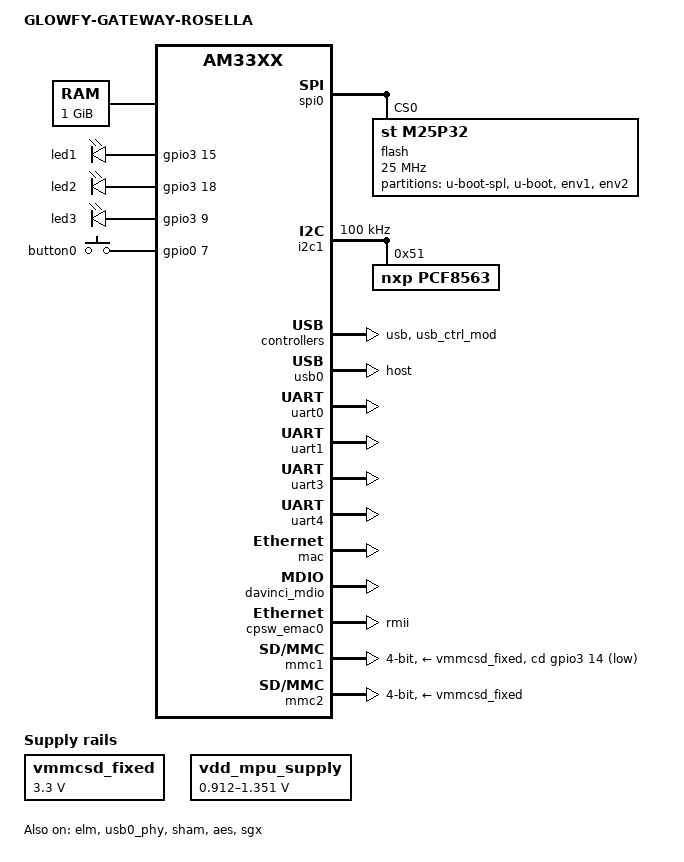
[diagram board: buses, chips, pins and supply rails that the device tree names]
/*
 * Copyright (C) 2023 Calixto Systems Pvt Ltd - https://www.calixtosystems.com/
 *
 * This program is free software; you can redistribute it and/or modify
 * it under the terms of the GNU General Public License version 2 as
 * published by the Free Software Foundation.
 */

/*
 * Glowfy Gateway Rosella
 * http:// http://www.calixtosystems.com/
 * Modified from am335x-stamp-nxt evb
 * Modified by Vipin Vijayan <vipin.v@calixto.in>
 */

/dts-v1/;

#include "am33xx.dtsi"
#include <dt-bindings/pwm/pwm.h>
#include <dt-bindings/interrupt-controller/irq.h>

/ {
	model = "GLOWFY-GATEWAY-ROSELLA";
	compatible = "ti,am335x-calixto-stamp-nxt", "ti,am33xx";

	cpus {
		cpu@0 {
			cpu0-supply = <&vdd_mpu_supply>;
		};
	};

	memory@80000000 {
		device_type = "memory";
		reg = <0x80000000 0x40000000>; /* 1GB */
	};

	chosen {
		stdout-path = &uart0;
	};

	vmmcsd_fixed: fixedregulator-sd {
		compatible = "regulator-fixed";
		regulator-name = "vmmcsd_fixed";
		regulator-min-microvolt = <3300000>;
		regulator-max-microvolt = <3300000>;
		enable-active-high;
	};

	vdd_mpu_supply: fixedregulator-mpu {
		compatible = "regulator-fixed";
		regulator-name = "vdd_mpu_supply";
		regulator-min-microvolt = <912500>;
		regulator-max-microvolt = <1351500>;
		regulator-boot-on;
	};

	leds {
		pinctrl-names = "default";
		pinctrl-0 = <&user_leds_s0>;

		compatible = "gpio-leds";

		led@1 {
			label = "led1";
			gpios = <&gpio3 15 GPIO_ACTIVE_HIGH>;
			linux,default-trigger = "heartbeat";
			default-state = "on";
		};
		led@2 {
			label = "led2";
			gpios = <&gpio3 18 GPIO_ACTIVE_HIGH>;
			linux,default-trigger = "heartbeat";
			default-state = "on";
		};
		led@3 {
			label = "led3";
			gpios = <&gpio3 9 GPIO_ACTIVE_HIGH>;
			linux,default-trigger = "heartbeat";
			default-state = "on";
		};
	};

	gpio_buttons: gpio_buttons@0 {
		compatible = "gpio-keys";
		pinctrl-names = "default";
		pinctrl-0 = <&gpio_keys_s0>;
		#address-cells = <1>;
		#size-cells = <0>;

		switch@1 {
			label = "button0";
			linux,code = <0x100>;
			gpios = <&gpio0 7 GPIO_ACTIVE_HIGH>;
		};
	};



};

&am33xx_pinmux {

	user_leds_s0: user_leds_s0 {
		pinctrl-single,pins = <
			AM33XX_IOPAD(0x92c, PIN_OUTPUT_PULLDOWN | MUX_MODE7) /* (K18) gmii1_txclk.gpio3[9] */
			AM33XX_IOPAD(0x994, PIN_OUTPUT_PULLDOWN | MUX_MODE7) /* (B13) mcasp0_fsx.gpio3[15] */
			AM33XX_IOPAD(0x9a0, PIN_OUTPUT_PULLDOWN | MUX_MODE7) /* (B12) mcasp0_aclkr.gpio3[18] */
		>;
	};

	gpio_keys_s0: gpio_keys_s0 {
		pinctrl-single,pins = <
			AM33XX_IOPAD(0x964, PIN_INPUT_PULLDOWN | MUX_MODE7) /* (C18) eCAP0_in_PWM0_out.gpio0[7] */
		>;
	};

	i2c1_pins: pinmux_i2c1_pins {
		pinctrl-single,pins = <
			AM33XX_IOPAD(0x96C, PIN_INPUT_PULLUP | MUX_MODE3)  /* (E17) uart0_rtsn.I2C1_SCL */
			AM33XX_IOPAD(0x968, PIN_INPUT_PULLUP | MUX_MODE3)  /* (E18) uart0_ctsn.I2C1_SDA */
		>;
	};


	spi0_pins: pinmux_spi0_pins {
		pinctrl-single,pins = <
			AM33XX_IOPAD(0x950, PIN_INPUT_PULLUP | MUX_MODE0 )  /* (A17) spi0_sclk.spi0_sclk */
			AM33XX_IOPAD(0x954, PIN_INPUT_PULLUP | MUX_MODE0 )  /* (B17) spi0_d0.spi0_d0 */
			AM33XX_IOPAD(0x958, PIN_OUTPUT_PULLUP | MUX_MODE0 ) /* (B16) spi0_d1.spi0_d1 */
			AM33XX_IOPAD(0x95c, PIN_OUTPUT_PULLUP | MUX_MODE0 ) /* (A16) spi0_cs0.spi0_cs0 */
		>;
	};

	uart0_pins: pinmux_uart0_pins {
		pinctrl-single,pins = <
			AM33XX_IOPAD(0x970, PIN_INPUT_PULLUP 	| MUX_MODE0)	/* uart0_rxd.uart0_rxd */
			AM33XX_IOPAD(0x974, PIN_OUTPUT_PULLDOWN | MUX_MODE0)	/* uart0_txd.uart0_txd */
		>;
	};

	uart1_pins: pinmux_uart1_pins {
		pinctrl-single,pins = <
			AM33XX_IOPAD(0x980, PIN_INPUT_PULLUP    | MUX_MODE0 )	/* (D16) uart1_rxd.uart1_rxd */
			AM33XX_IOPAD(0x984, PIN_OUTPUT_PULLDOWN | MUX_MODE0 )	/* (D15) uart1_txd.uart1_txd */
		>;
	};

	uart3_pins: pinmux_uart3_pins {
		pinctrl-single,pins = <
			AM33XX_IOPAD(0x960, PIN_INPUT_PULLUP 	| MUX_MODE1 )  /* (C15) spi0_cs1.uart3_rxd   RS485_1_RX*/
			AM33XX_IOPAD(0x938, PIN_OUTPUT_PULLDOWN | MUX_MODE1 )  /* (L16) gmii1_rxd2.uart3_txd RS485_1_TX*/
		>;
	};

	uart4_pins: pinmux_uart4_pins {
		pinctrl-single,pins = <
			AM33XX_IOPAD(0x91c, PIN_INPUT_PULLUP 	| MUX_MODE3 )  /* (J18) gmii1_txd3.uart4_rxd RS485_2_RX*/
			AM33XX_IOPAD(0x920, PIN_OUTPUT_PULLDOWN | MUX_MODE3 )  /* (K15) gmii1_txd2.uart4_txd RS485_2_TX*/
			AM33XX_IOPAD(0x930, PIN_OUTPUT_PULLUP 	| MUX_MODE7)   /* (L18) gmii1_rxclk.gpio3[10] */
		>;
	};

	cpsw_default: cpsw_default {
		pinctrl-single,pins = <
			/* Slave 1 */
			/* Slave 1 */
			AM33XX_IOPAD(0x90c, PIN_INPUT_PULLDOWN  | MUX_MODE1)  /* mii1_crs.rmii1_crs_dv */
			AM33XX_IOPAD(0x910, PIN_INPUT_PULLDOWN  | MUX_MODE1)  /* mii1_rxerr.mii1_rxerr */
			AM33XX_IOPAD(0x914, PIN_OUTPUT_PULLDOWN | MUX_MODE1)  /* mii1_txen.mii1_txen   */
			AM33XX_IOPAD(0x924, PIN_OUTPUT_PULLDOWN | MUX_MODE1)  /* mii1_txd1.mii1_txd1   */
			AM33XX_IOPAD(0x928, PIN_OUTPUT_PULLDOWN | MUX_MODE1)  /* mii1_txd0.mii1_txd0   */
			AM33XX_IOPAD(0x93c, PIN_INPUT_PULLDOWN  | MUX_MODE1)  /* mii1_rxd1.mii1_rxd2   */
			AM33XX_IOPAD(0x940, PIN_INPUT_PULLDOWN  | MUX_MODE1)  /* mii1_rxd0.mii1_rxd0   */
			AM33XX_IOPAD(0x944, PIN_INPUT_PULLDOWN  | MUX_MODE0)  /* rmii1_refclk.rmii1_refclk */
		>;
	};

	cpsw_sleep: cpsw_sleep {
		pinctrl-single,pins = <
			/* Slave 1 reset value */
			AM33XX_IOPAD(0x90c, PIN_INPUT_PULLDOWN | MUX_MODE7)
			AM33XX_IOPAD(0x910, PIN_INPUT_PULLDOWN | MUX_MODE7)
			AM33XX_IOPAD(0x914, PIN_INPUT_PULLDOWN | MUX_MODE7)
			AM33XX_IOPAD(0x924, PIN_INPUT_PULLDOWN | MUX_MODE7)
			AM33XX_IOPAD(0x928, PIN_INPUT_PULLDOWN | MUX_MODE7)
			AM33XX_IOPAD(0x93c, PIN_INPUT_PULLDOWN | MUX_MODE7)
			AM33XX_IOPAD(0x940, PIN_INPUT_PULLDOWN | MUX_MODE7)
			AM33XX_IOPAD(0x944, PIN_INPUT_PULLDOWN | MUX_MODE7)
		>;
	};

	davinci_mdio_default: davinci_mdio_default {
		pinctrl-single,pins = <
			/* MDIO */
			AM33XX_IOPAD(0x948, PIN_INPUT_PULLUP | SLEWCTRL_FAST | MUX_MODE0)	/* mdio_data.mdio_data */
			AM33XX_IOPAD(0x94c, PIN_OUTPUT_PULLUP | MUX_MODE0)			/* mdio_clk.mdio_clk */
		>;
	};

	davinci_mdio_sleep: davinci_mdio_sleep {
		pinctrl-single,pins = <
			/* MDIO reset value */
			AM33XX_IOPAD(0x948, PIN_INPUT_PULLDOWN | MUX_MODE7)
			AM33XX_IOPAD(0x94c, PIN_INPUT_PULLDOWN | MUX_MODE7)
		>;
	};

	mmc1_pins_default: pinmux_mmc1_pins {
		pinctrl-single,pins = <
			AM33XX_IOPAD(0x8F0, PIN_INPUT_PULLUP | MUX_MODE0)    /* mmc0_dat3.mmc0_dat3 */
			AM33XX_IOPAD(0x8F4, PIN_INPUT_PULLUP | MUX_MODE0)    /* mmc0_dat2.mmc0_dat2 */
			AM33XX_IOPAD(0x8F8, PIN_INPUT_PULLUP | MUX_MODE0)    /* mmc0_dat1.mmc0_dat1 */
			AM33XX_IOPAD(0x8FC, PIN_INPUT_PULLUP | MUX_MODE0)    /* mmc0_dat0.mmc0_dat0 */
			AM33XX_IOPAD(0x900, PIN_INPUT_PULLUP | MUX_MODE0)    /* mmc0_clk.mmc0_clk */
			AM33XX_IOPAD(0x904, PIN_INPUT_PULLUP | MUX_MODE0)    /* mmc0_cmd.mmc0_cmd */
			AM33XX_IOPAD(0x990, PIN_INPUT | MUX_MODE7)           /* mcasp0_aclkx.gpio3_14 */
		>;
	};	

	mmc1_pins_sleep: pinmux_mmc1_pins_sleep {
		pinctrl-single,pins = <
			AM33XX_IOPAD(0x8F0, PIN_INPUT_PULLDOWN | MUX_MODE7)
			AM33XX_IOPAD(0x8F4, PIN_INPUT_PULLDOWN | MUX_MODE7)
			AM33XX_IOPAD(0x8F8, PIN_INPUT_PULLDOWN | MUX_MODE7)
			AM33XX_IOPAD(0x8FC, PIN_INPUT_PULLDOWN | MUX_MODE7)
			AM33XX_IOPAD(0x900, PIN_INPUT_PULLDOWN | MUX_MODE7)
			AM33XX_IOPAD(0x904, PIN_INPUT_PULLDOWN | MUX_MODE7)
			AM33XX_IOPAD(0x990, PIN_INPUT_PULLDOWN | MUX_MODE7)
		>;
	};

	emmc_pins: pinmux_emmc_pins {
		pinctrl-single,pins = <
			AM33XX_IOPAD(0x880, PIN_INPUT_PULLUP | MUX_MODE2 ) /* (U9) gpmc_csn1.mmc1_clk */
			AM33XX_IOPAD(0x884, PIN_INPUT_PULLUP | MUX_MODE2 ) /* (V9) gpmc_csn2.mmc1_cmd */
			AM33XX_IOPAD(0x800, PIN_INPUT_PULLUP | MUX_MODE1 ) /* (U7) gpmc_ad0.mmc1_dat0 */
			AM33XX_IOPAD(0x804, PIN_INPUT_PULLUP | MUX_MODE1 ) /* (V7) gpmc_ad1.mmc1_dat1 */
			AM33XX_IOPAD(0x808, PIN_INPUT_PULLUP | MUX_MODE1 ) /* (R8) gpmc_ad2.mmc1_dat2 */
			AM33XX_IOPAD(0x80c, PIN_INPUT_PULLUP | MUX_MODE1 ) /* (T8) gpmc_ad3.mmc1_dat3 */
		>;
	};

	usb0_drvvbus: usb0_drvvbus {
               	pinctrl-single,pins = <
                        AM33XX_IOPAD(0xA1C, PIN_OUTPUT_PULLUP | MUX_MODE0)
               	>;
       	};

};

&elm {
	status = "okay";
};

/*
 * SPI Flash (8MiB)
 * 0x000000 - 0x01FFFF : SPL (128KiB)
 * 0x020000 - 0x09FFFF : U-Boot (512KiB)
 * 0x0A0000 - 0x0BFFFF : First copy of U-Boot Environment (128KiB)
 * 0x0C0000 - 0x0DFFFF : Second copy of U-Boot Environment (128KiB)
 */

&spi0 {
	pinctrl-names = "default";
	pinctrl-0 = <&spi0_pins>;
	status = "okay";

	flash: n25q032@0 {
		 #address-cells = <1>;
		 #size-cells = <1>;
		 compatible = "st,m25p32";
		 spi-max-frequency = <25000000>;
		 reg = <0>;


		 partition@0 {
			 label = "u-boot-spl";
			 reg = <0x000000 0x020000>;
		 };


		 partition@1 {
			 label = "u-boot";
			 reg = <0x020000 0x080000>;
		 };

		 partition@2 {
			 label = "env1";
			 reg = <0x0A0000 0x020000>;
		 };

		 partition@3 {
			 label = "env2";
			 reg = <0x0C0000 0x020000>;
		 };

	};
};

&i2c1 {
	pinctrl-names = "default";
	pinctrl-0 = <&i2c1_pins>;
	status = "okay";
	clock-frequency = <100000>;

	pcf8563: pcf8563@51 {
		compatible = "nxp,pcf8563";
		reg = <0x51>;
	};
		

};

&usb {
	status = "okay";
};

&usb_ctrl_mod {
	status = "okay";
};

&usb0_phy {
	status = "okay";
};

&usb0 {
        pinctrl-0 = <&usb0_drvvbus>;
	status = "okay";
	dr_mode = "host";
};

&cppi41dma  {
	status = "okay";
};

&wkup_m3_ipc {
	ti,needs-vtt-toggle;
	ti,vtt-gpio-pin = <7>;
	ti,scale-data-fw = "am335x-evm-scale-data.bin";
};


&uart0 {
        pinctrl-names = "default";
        pinctrl-0 = <&uart0_pins>;

        status = "okay";
};

&uart1 {
        pinctrl-names = "default";
        pinctrl-0 = <&uart1_pins>;

        status = "okay";
};

&uart3 {
        pinctrl-names = "default";
        pinctrl-0 = <&uart3_pins>;

        status = "okay";
};

&uart4 {
        pinctrl-names = "default";
        pinctrl-0 = <&uart4_pins>;

        status = "okay";
};

&mac {
	pinctrl-names = "default", "sleep";
	pinctrl-0 = <&cpsw_default>;
	pinctrl-1 = <&cpsw_sleep>;
	slaves = <1>;
	status = "okay";
};

&davinci_mdio {
	pinctrl-names = "default", "sleep";
	pinctrl-0 = <&davinci_mdio_default>;
	pinctrl-1 = <&davinci_mdio_sleep>;
	status = "okay";
};

&cpsw_emac0 {
	phy_id = <&davinci_mdio>, <0>;
	phy-mode = "rmii";
	dual_emac_res_vlan = <1>;
};

&phy_sel {
	rmii-clock-ext;
};

&mmc1 {
        status = "okay";
        vmmc-supply = <&vmmcsd_fixed>;
        bus-width = <4>;
        pinctrl-names = "default", "sleep";
        pinctrl-0 = <&mmc1_pins_default>;
        pinctrl-1 = <&mmc1_pins_sleep>;
	cd-gpios = <&gpio3 14 GPIO_ACTIVE_LOW>;
};

&mmc2 {
	status = "okay";
	pinctrl-names = "default";
	pinctrl-0 = <&emmc_pins>;
        vmmc-supply = <&vmmcsd_fixed>;
	bus-width = <4>;
	ti,non-removable;
};

&sham {
	status = "okay";
};

&aes {
	status = "okay";
};

&gpio0 {
	ti,no-reset-on-init;
};

&sgx {
	status = "okay";
};

&rtc {
	clocks = <&clk_32768_ck>, <&l4_per_clkctrl AM3_CLKDIV32K_CLKCTRL 0>;
	clock-names = "ext-clk", "int-clk";
};


